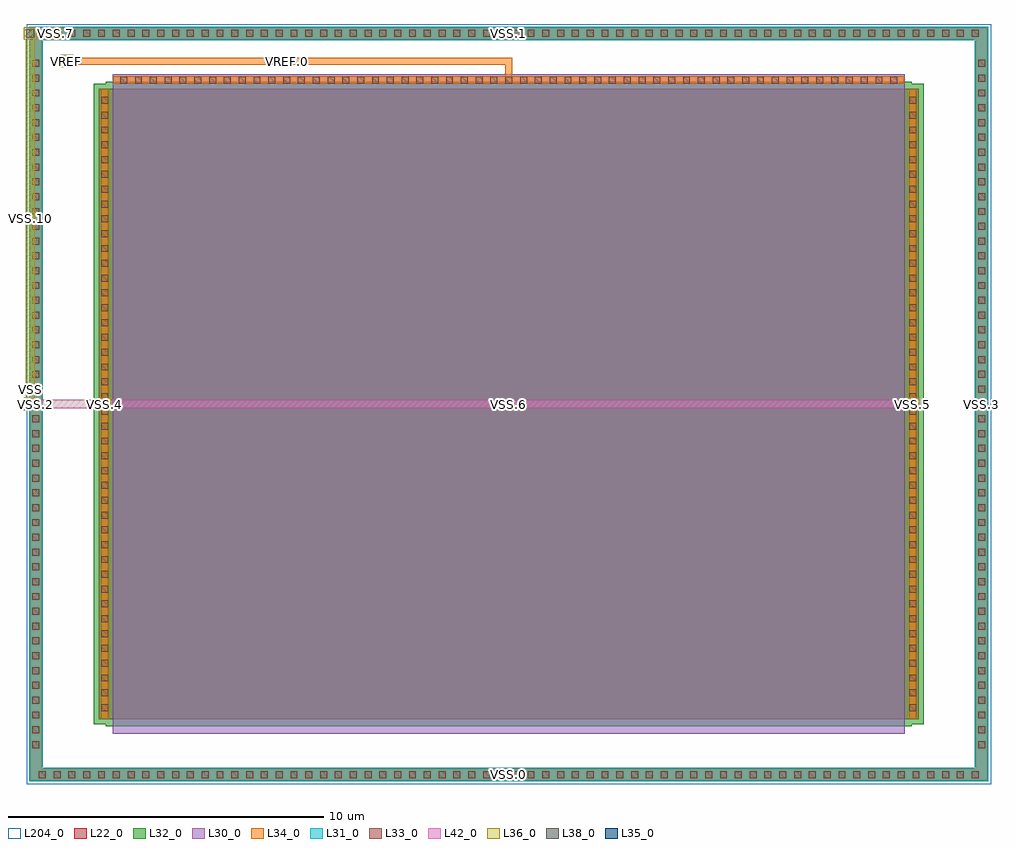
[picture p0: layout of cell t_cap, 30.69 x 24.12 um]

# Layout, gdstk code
import gdstk
lib = gdstk.Library(unit=1e-6, precision=1e-09)
def R(c, l, rs):  # rectangles x0, y0, x1, y1
    for r in rs: c.add(gdstk.rectangle(r[:2], r[2:], *l))
def A(c, l, x, y, w, h, nx, ny, dx, dy):  # array of equal rectangles
    R(c, l, [(x+i*dx, y+j*dy, x+i*dx+w, y+j*dy+h) for i in range(nx) for j in range(ny)])
L22_0 = (22, 0)
L30_0 = (30, 0)
L31_0 = (31, 0)
L32_0 = (32, 0)
L33_0 = (33, 0)
L34_0 = (34, 0)
L35_0 = (35, 0)
L36_0 = (36, 0)
L38_0 = (38, 0)
L42_0 = (42, 0)
L204_0 = (204, 0)

t_cap = lib.new_cell('t_cap')
R(t_cap, L22_0, [(0.12,0.12,30.49,0.48), (0.12,0.48,0.48,23.64), (30.13,0.48,30.49,23.64), (2.3,2.06,28.31,22.06), (0.12,23.64,30.49,24)])
R(t_cap, L30_0, [(2.74,1.6,27.87,22.52)])
R(t_cap, L31_0, [(0.09,0.09,30.52,0.51), (0.09,0.51,0.51,23.61), (30.1,0.51,30.52,23.61), (0.09,23.61,30.52,24.03)])
R(t_cap, L32_0, [(2.51,1.83,28.1,1.9), (2.14,1.9,28.47,22.22), (2.51,22.22,28.1,22.29)])
A(t_cap, L33_0, 0.39, 0.19, 0.22, 0.22, 64, 2, 0.47, 23.52)
A(t_cap, L33_0, 0.19, 1.14, 0.22, 0.22, 1, 47, 0, 0.47)
A(t_cap, L33_0, 30.2, 1.14, 0.22, 0.22, 1, 47, 0, 0.47)
A(t_cap, L33_0, 2.37, 2.315, 0.22, 0.22, 1, 42, 0, 0.47)
A(t_cap, L33_0, 28.02, 2.315, 0.22, 0.22, 1, 42, 0, 0.47)
A(t_cap, L33_0, 2.975, 22.23, 0.22, 0.22, 53, 1, 0.47, 0)
R(t_cap, L34_0, [(0.12,0.12,30.49,0.48), (0.12,0.48,0.48,23.64), (30.13,0.48,30.49,23.64), (2.365,2.07,2.595,11.86), (28.015,2.07,28.245,11.86), (2.28,11.86,2.68,12.26), (27.93,11.86,28.33,12.26), (2.365,12.26,2.595,22.05), (28.015,12.26,28.245,22.05), (2.75,22.225,27.86,22.455), (15.19,22.455,15.42,22.825), (1.08,22.74,1.48,22.825), (1.08,22.825,15.42,23.055), (1.08,23.055,1.48,23.14), (0.72,23.62,1.12,23.64), (0.12,23.64,30.49,24), (0.72,24,1.12,24.02)])
R(t_cap, L35_0, [(2.35,11.93,2.61,12.19), (28,11.93,28.26,12.19), (1.15,22.81,1.41,23.07), (0.79,23.69,1.05,23.95)])
R(t_cap, L36_0, [(-0.08,11.86,0.32,12.26), (2.28,11.86,2.68,12.26), (27.93,11.86,28.33,12.26), (-0.02,12.26,0.26,23.62), (1.08,22.74,1.48,23.14), (-0.08,23.62,0.32,24.02), (0.72,23.62,1.12,24.02)])
R(t_cap, L38_0, [(-0.01,11.93,0.25,12.19), (2.35,11.93,2.61,12.19), (28,11.93,28.26,12.19), (1.15,22.81,1.41,23.07), (-0.01,23.69,0.25,23.95), (0.79,23.69,1.05,23.95)])
R(t_cap, L42_0, [(-0.08,11.86,0.32,11.92), (2.28,11.86,2.68,11.92), (27.93,11.86,28.33,11.92), (-0.08,11.92,28.33,12.2), (-0.08,12.2,0.32,12.26), (2.28,12.2,2.68,12.26), (27.93,12.2,28.33,12.26), (1.08,22.74,1.48,23.14), (-0.08,23.62,0.32,23.68), (0.72,23.62,1.12,23.68), (-0.08,23.68,1.12,23.96), (-0.08,23.96,0.32,24.02), (0.72,23.96,1.12,24.02)])
R(t_cap, L204_0, [(0,0,30.61,24.12)])
t_cap.add(gdstk.Label('VSS.0', (15.305,0.3), layer=34, texttype=0))
t_cap.add(gdstk.Label('VSS.1', (15.305,23.82), layer=34, texttype=0))
t_cap.add(gdstk.Label('VSS.2', (0.3,12.06), layer=34, texttype=0))
t_cap.add(gdstk.Label('VSS.3', (30.31,12.06), layer=34, texttype=0))
t_cap.add(gdstk.Label('VREF.0', (8.25,22.94), layer=34, texttype=0))
t_cap.add(gdstk.Label('VSS.4', (2.48,12.06), layer=34, texttype=0))
t_cap.add(gdstk.Label('VSS.5', (28.13,12.06), layer=34, texttype=0))
t_cap.add(gdstk.Label('VSS.6', (15.305,12.06), layer=42, texttype=0))
t_cap.add(gdstk.Label('VSS.7', (0.92,23.82), layer=34, texttype=0))
t_cap.add(gdstk.Label('VSS.8', (1.18,12.06), layer=42, texttype=0))
t_cap.add(gdstk.Label('VSS.9', (0.4,23.82), layer=42, texttype=0))
t_cap.add(gdstk.Label('VSS.10', (0.12,17.94), layer=36, texttype=0))
t_cap.add(gdstk.Label('VSS', (0.12,12.51), layer=36, texttype=10))
t_cap.add(gdstk.Label('VREF', (1.28,22.94), layer=36, texttype=10))

lib.write_gds('t_cap.gds')
